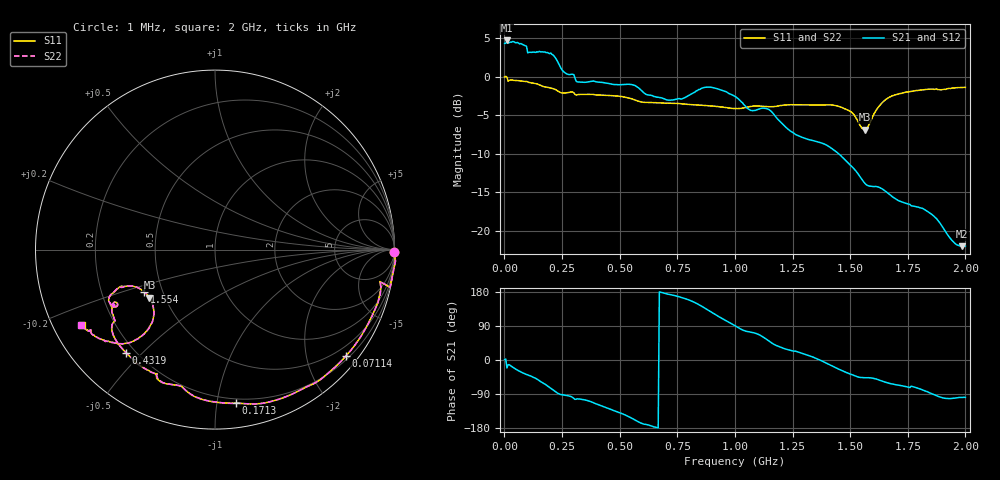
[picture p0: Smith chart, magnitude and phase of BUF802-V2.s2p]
# MHz S MA R 50
!  freq  S11  S21  S12  S22
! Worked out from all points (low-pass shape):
!   400 points, 1 MHz to 2 GHz, reference 50 ohm
!   highest |S21| = 4.73 dB at 11.02 MHz (marker M1); lowest = -22.0 dB at 1.985 GHz (marker M2)
!   |S21| within 3 dB of the highest: start of sweep to 235.2 MHz
!   lowest |S11| = -6.9 dB at 1.564 GHz (marker M3), VSWR 2.66, Z = 20.5 - j13.8 ohm
!   |S11| at or under -10 dB: nowhere
!   |S22| runs from -6.9 to 0.1 dB; largest |S21 - S12| = 0.036
!   S11 on the Smith chart (normalised r, x): 1 MHz: open; 71.14 MHz: 0.27, -2.78; 171.3 MHz: 0.17, -1.13; 431.9 MHz: 0.17, -0.45; 1.554 GHz: 0.39, -0.23; 2 GHz: 0.08, -0.26
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1  0.999 -0.6  1.649 1.3  1.645 1.6  0.9991 -0.7
6.010025  1.008 -3.6  1.651 2.5  1.648 2.5  1.008 -3.7
11.02005  0.9971 -12.1  1.724 -20.9  1.717 -21.0  0.9983 -12.1
16.03008  0.9362 -11.0  1.663 -12.4  1.698 -12.2  0.9357 -11.0
21.0401  0.9491 -12.9  1.67 -12.5  1.7 -12.6  0.9493 -12.9
71.14035  0.9398 -39.3  1.647 -31.4  1.648 -31.1  0.9395 -39.2
171.3409  0.8623 -82.3  1.448 -62.2  1.439 -62.2  0.8629 -82.3
206.411  0.842 -93.3  1.4 -77.1  1.409 -77.0  0.8418 -93.3
236.4712  0.8014 -101.7  1.21 -89.4  1.209 -89.4  0.801 -101.7
336.6717  0.7692 -118.1  0.9236 -104.2  0.9249 -104.3  0.7702 -118.1
431.8622  0.7586 -130.7  0.9157 -123.4  0.9154 -123.5  0.7585 -130.7
562.1228  0.7112 -143.7  0.8828 -156.7  0.8857 -157.1  0.7114 -143.8
672.3434  0.6774 -146.6  0.7335 179.8  0.7364 -180.0  0.6774 -146.6
857.7143  0.6535 -151.3  0.8453 141.2  0.8337 141.2  0.6529 -151.2
1003.005  0.6217 -151.4  0.7422 89.3  0.7423 89.4  0.6215 -151.4
1163.326  0.6389 -150.9  0.5843 43.5  0.5854 43.6  0.6389 -150.9
1333.667  0.6569 -152.6  0.3868 8.9  0.3876 8.2  0.6559 -152.5
1554.108  0.4597 -149.3  0.212 -46.3  0.2136 -46.2  0.4595 -149.3
1564.128  0.453 -143.8  0.2031 -46.8  0.2039 -46.8  0.4531 -143.8
1669.338  0.7361 -134.5  0.1725 -61.5  0.172 -61.7  0.7361 -134.5
1984.97  0.8528 -149.8  0.07921 -98.7  0.07952 -98.6  0.8528 -149.8
2000  0.8546 -150.4  0.07932 -98.6  0.07923 -98.8  0.8554 -150.4
